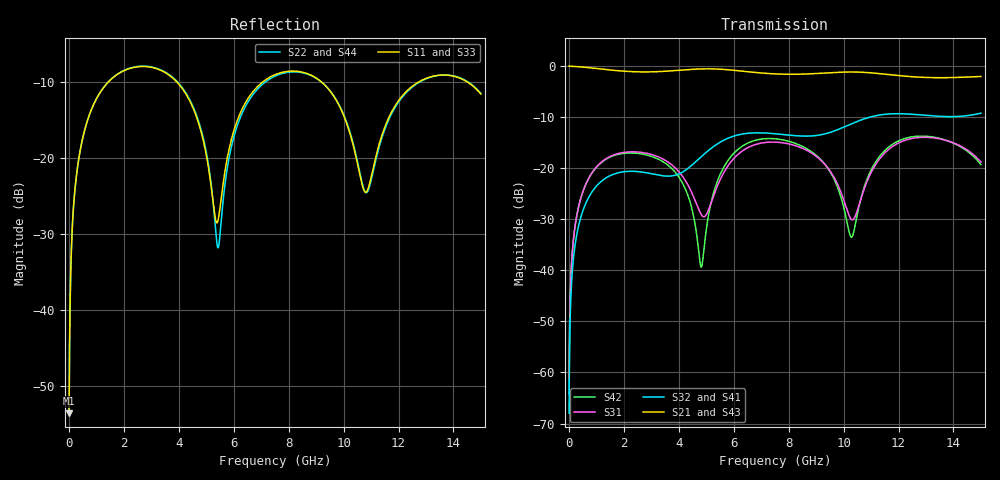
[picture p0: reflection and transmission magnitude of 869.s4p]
! Created with skrf 1.8.0 (http://scikit-rf.org).
# GHz S RI R 50.0
!freq ReS11 ImS11 ReS12 ImS12 ReS13 ImS13
! ReS14 ImS14
! ReS21 ImS21 ReS22 ImS22 ReS23 ImS23
! ReS24 ImS24
! ReS31 ImS31 ReS32 ImS32 ReS33 ImS33
! ReS34 ImS34
! ReS41 ImS41 ReS42 ImS42 ReS43 ImS43
! ReS44 ImS44
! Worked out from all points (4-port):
!   2499 points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, 5 MHz to 15 GHz, reference 50 ohm
!   strongest paths, dB at 5 MHz, 3.476 GHz, 7.19 GHz, 11.1 GHz, 15 GHz:
!     S21: 0.0, -1.0, -1.4, -1.4, -2.0
!     S43: 0.0, -1.0, -1.4, -1.4, -2.0
!     S32: -68.0, -21.5, -13.1, -9.8, -9.2
!     S41: -68.0, -21.5, -13.1, -9.8, -9.2
!     S31: -64.2, -18.4, -14.9, -19.9, -18.8
!     S42: -64.2, -18.9, -14.2, -19.4, -19.3
!   lowest |S11| = -53.6 dB at 5 MHz (marker M1), VSWR 1.00, Z = 50.2 + j0.128 ohm
!   |S11| at or under -10 dB: start of sweep to 1.446 GHz; 3.916 GHz to 7.071 GHz (3.155 GHz wide, 57.4 % of centre); 9.181 GHz to 12.76 GHz (3.574 GHz wide, 32.6 % of centre)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
0.005  0.00166 0.00127  0.9983 -0.00324  8.19e-05 0.00061  -7.98e-05 -0.00039
       0.9983 -0.00324  0.00166 0.00127  -7.98e-05 -0.00039  8.18e-05 0.00061
       8.19e-05 0.00061  -7.98e-05 -0.00039  0.00166 0.00127  0.9983 -0.00324
       -7.98e-05 -0.00039  8.18e-05 0.00061  0.9983 -0.00324  0.00166 0.00127
0.3126303  0.0245 0.0835  0.9665 -0.2012  0.0108 0.0361  -0.00886 -0.0229
           0.9665 -0.2012  0.0246 0.0835  -0.00886 -0.0229  0.0103 0.0362
           0.0108 0.0361  -0.00886 -0.0229  0.0245 0.0835  0.9665 -0.2012
           -0.00886 -0.0229  0.0103 0.0362  0.9665 -0.2012  0.0246 0.0835
1.519383  0.2694 0.1832  0.5534 -0.7286  0.1201 0.0524  -0.0848 -0.00727
          0.5534 -0.7286  0.2712 0.1819  -0.0848 -0.00729  0.1147 0.0597
          0.1201 0.0524  -0.0848 -0.00729  0.2694 0.1832  0.5534 -0.7285
          -0.0848 -0.00727  0.1147 0.0597  0.5534 -0.7285  0.2712 0.182
5.239683  0.039 -0.0354  -0.9273 -0.1487  -0.0292 0.0421  -0.023 0.1596
          -0.9273 -0.1487  0.028 -0.0452  -0.0233 0.1595  0.0157 0.0518
          -0.0292 0.0421  -0.0233 0.1595  0.039 -0.0361  -0.9273 -0.149
          -0.023 0.1596  0.0157 0.0518  -0.9273 -0.149  0.0282 -0.0459
8.378491  0.3658 -0.0435  0.0103 0.8328  0.1411 -0.0789  0.1956 -0.0681
          0.0103 0.8328  0.3632 -0.0351  0.1958 -0.0676  0.1442 -0.089
          0.1411 -0.0789  0.1958 -0.0676  0.3652 -0.0427  0.0105 0.8331
          0.1956 -0.0681  0.1442 -0.089  0.0105 0.8331  0.3622 -0.0362
11.12338  0.0743 0.0555  0.8526 -0.0324  0.0326 0.0987  -0.0297 -0.3234
          0.8526 -0.0324  0.0722 0.051  -0.029 -0.3231  0.0458 0.1002
          0.0326 0.0987  -0.029 -0.3231  0.0772 0.053  0.8528 -0.032
          -0.0297 -0.3234  0.0458 0.1002  0.8528 -0.032  0.0685 0.0487
15  0.222 -0.139  -0.43 -0.6645  -0.00167 -0.115  -0.2727 0.2126
    -0.43 -0.6645  0.2209 -0.1452  -0.274 0.2104  0.00128 -0.1086
    -0.00167 -0.115  -0.274 0.2104  0.2125 -0.137  -0.4345 -0.6646
    -0.2727 0.2126  0.00128 -0.1086  -0.4345 -0.6646  0.2136 -0.1387
